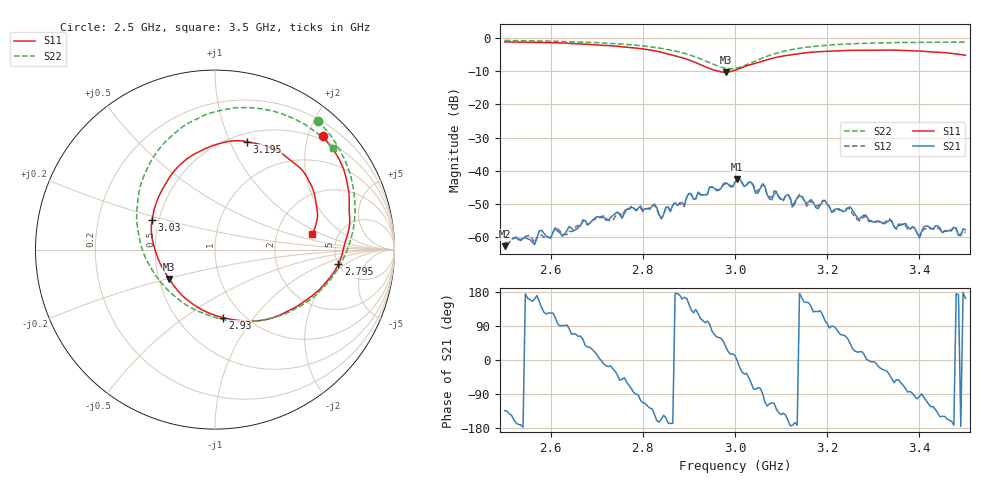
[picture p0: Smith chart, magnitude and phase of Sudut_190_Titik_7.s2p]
# Hz S RI R 50
! CMT, C1220, 16058040, 17.2.0/1
! Date: 15/08/2018 10:09:22
! Data: Format (Calibration Info)
! Freq  S11: Re/Im (F2)  S21: Re/Im (F2)  S12: Re/Im (F2)  S22: Re/Im (F2)
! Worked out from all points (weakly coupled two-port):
!   201 points, 2.5 GHz to 3.5 GHz, reference 50 ohm
!   highest |S21| = -42.48 dB at 3.005 GHz (marker M1); lowest = -62.7 dB at 2.5 GHz (marker M2)
!   lowest |S11| = -10.4 dB at 2.98 GHz (marker M3), VSWR 1.87, Z = 28.4 - j10.2 ohm
!   |S11| at or under -10 dB: 2.964 GHz to 2.994 GHz (30.27 MHz wide, 1.02 % of centre)
!   |S22| runs from -9.3 to -0.7 dB; largest |S21 - S12| = 0.00061
!   S11 on the Smith chart (normalised r, x): 2.5 GHz: 0.42, +2.25; 2.795 GHz: 4.97, -1.57; 2.93 GHz: 0.81, -0.71; 3.03 GHz: 0.46, +0.18; 3.195 GHz: 0.58, +1.16; 3.5 GHz: 3.23, +0.78
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2.5e9  0.5996 0.6348  -0.0005 -0.000531  -0.000623 -0.000569  0.5731 0.7165
2.635e9  0.7302 0.399  -5.76e-05 0.00124  6.08e-05 0.00108  0.715 0.5165
2.67e9  0.7465 0.3148  0.00106 0.00147  0.00117 0.00135  0.7457 0.4432
2.795e9  0.6869 -0.0824  -0.000832 -0.00282  -0.00075 -0.00265  0.7618 0.077
2.835e9  0.5794 -0.2249  -0.00213 -0.000611  -0.00205 -0.000603  0.702 -0.0765
2.93e9  0.0429 -0.3784  -0.00107 0.00418  -0.00118 0.00412  0.2566 -0.3938
2.98e9  -0.2548 -0.164  0.00545 0.0037  0.00514 0.0037  -0.1389 -0.3216
3e9  -0.3247 -0.0297  0.00662 0.00143  0.00666 0.00116  -0.2758 -0.212
3.005e9  -0.3359 0.00337  0.00751 -0.000324  0.00719 -0.000436  -0.3048 -0.1781
3.03e9  -0.3509 0.1666  0.00456 -0.00481  0.00467 -0.00484  -0.4082 0.0105
3.06e9  -0.2907 0.3405  8.43e-05 -0.00636  -0.000288 -0.00621  -0.4324 0.249
3.08e9  -0.2299 0.4345  -0.00144 -0.00335  -0.00157 -0.00369  -0.404 0.3911
3.115e9  -0.1009 0.5396  -0.0041 -0.0015  -0.00408 -0.00134  -0.2946 0.581
3.125e9  -0.0619 0.5589  -0.00285 -0.000393  -0.00273 -0.000375  -0.2546 0.6219
3.14e9  -0.00399 0.5824  -0.00415 0.000306  -0.00438 0.000337  -0.1955 0.6726
3.17e9  0.0983 0.6054  -0.002 0.00264  -0.00222 0.00241  -0.0758 0.7412
3.195e9  0.1774 0.6013  -0.000906 0.0034  -0.000704 0.00351  0.0175 0.772
3.27e9  0.3718 0.536  0.00174 0.000684  0.00163 0.000661  0.2556 0.785
3.335e9  0.4901 0.4373  0.00139 -0.00112  0.00138 -0.00127  0.4085 0.7431
3.4e9  0.5528 0.3134  -0.000116 -0.000999  -0.000197 -0.000942  0.526 0.6798
3.415e9  0.56 0.2778  -0.000441 -0.00141  -0.000367 -0.00129  0.5499 0.6636
3.5e9  0.5424 0.0842  -0.00123 0.00038  -0.00108 0.000436  0.6574 0.5639
